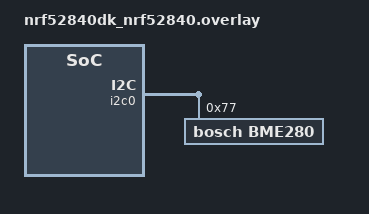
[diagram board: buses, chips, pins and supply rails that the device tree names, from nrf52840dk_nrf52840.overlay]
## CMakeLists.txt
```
# SPDX-License-Identifier: Apache-2.0

cmake_minimum_required(VERSION 3.13.1)
find_package(Zephyr REQUIRED HINTS $ENV{ZEPHYR_BASE})
project(bme280_ble)

FILE(GLOB app_sources src/*.c)
target_sources(app PRIVATE ${app_sources})
```

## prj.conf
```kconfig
CONFIG_SENSOR=y
CONFIG_BME280=y

##########
# for BLE
##########
CONFIG_BT=y
CONFIG_BT_DEBUG_LOG=y
CONFIG_BT_PERIPHERAL=y
CONFIG_BT_DEVICE_NAME="WS"
CONFIG_BT_GATT_CLIENT=y
```

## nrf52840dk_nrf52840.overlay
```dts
/*
 * Copyright (c) 2020, Nordic Semiconductor ASA
 *
 * SPDX-License-Identifier: Apache-2.0
 */

// &i2c0 {
// 	compatible = "nordic,nrf-twim";
// 	status = "okay";
// 	sda-pin = <26>;
// 	scl-pin = <27>;
//     clock-frequency = <I2C_BITRATE_STANDARD>;
// 	bme280@77 {
// 		compatible = "bosch,bme280";
// 		reg = <0x77>;
// 		label = "BME280";
// 	};

// };


/*
 * Copyright (c) 2020, Nordic Semiconductor ASA
 *
 * SPDX-License-Identifier: Apache-2.0
 */

&i2c0 {
	bme280@77 {
		compatible = "bosch,bme280";
		reg = <0x77>;
		label = "BME280";
	};
};
```

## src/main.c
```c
/**
 * @file main.c
 *
 * Description
 *
 */

/*======= Includes ==========================================================*/

#include <zephyr.h>
#include <device.h>
#include <drivers/sensor.h>
#include <devicetree.h>
#include <drivers/gpio.h>

#include <logging/log.h>

#include <bluetooth/bluetooth.h>
#include <bluetooth/hci.h>
#include <bluetooth/conn.h>
#include <bluetooth/uuid.h>
#include <bluetooth/gatt.h>

#include "sensor_data.h"

LOG_MODULE_REGISTER(main);

/*======= Local Macro Definitions ===========================================*/

#define BME280 DT_INST(0, bosch_bme280)

#if DT_NODE_HAS_STATUS(BME280, okay)
#define BME280_LABEL DT_LABEL(BME280)
#else
#error Your devicetree has no enabled nodes with compatible "bosch,bme280"
#define BME280_LABEL "<none>"
#endif

#define LED0_NODE DT_ALIAS(led0)

#if DT_NODE_HAS_STATUS(LED0_NODE, okay)
#define LED0	DT_GPIO_LABEL(LED0_NODE, gpios)
#define PIN	DT_GPIO_PIN(LED0_NODE, gpios)
#if DT_PHA_HAS_CELL(LED0_NODE, gpios, flags)
#define FLAGS	DT_GPIO_FLAGS(LED0_NODE, gpios)
#endif
#else
/* A build error here means your board isn't set up to blink an LED. */
#error "Unsupported board: led0 devicetree alias is not defined"
#define LED0	""
#define PIN	0
#endif

#ifndef FLAGS
#define FLAGS	0
#endif

/*======= Type Definitions ==================================================*/
/*======= Local function prototypes =========================================*/

static ssize_t recvHumidity(struct bt_conn *conn,
					const struct bt_gatt_attr *attr,
					void *buf, u16_t len,
					u16_t offset);

static ssize_t recvTemperature(struct bt_conn *conn,
					const struct bt_gatt_attr *attr,
					void *buf, u16_t len,
					u16_t offset);

static ssize_t recvPressure(struct bt_conn *conn,
					const struct bt_gatt_attr *attr,
					void *buf, u16_t len,
					u16_t offset);

static void humidity_ccc_cfg_changed(const struct bt_gatt_attr *attr, u16_t value);
static void temperature_ccc_cfg_changed(const struct bt_gatt_attr *attr, u16_t value);

static void bt_ready(int err);
static void connected(struct bt_conn *connected, u8_t err);
static void disconnected(struct bt_conn *disconn, u8_t reason);

/*======= Local variable declarations =======================================*/

extern s32_t pressure;
extern s32_t temperature;
extern s32_t humidity;

/* WS Custom Service  */
static struct bt_uuid_128 ws_service_uuid = BT_UUID_INIT_128(
	0x8f, 0xe5, 0xb3, 0xd5, 0x2e, 0x7f, 0x4a, 0x98,
	0x2a, 0x48, 0x7a, 0xcc, 0x40, 0xfe, 0x00, 0x00);

/* WS Humidity charecterstic */
static struct bt_uuid_128 humidty_char_uuid = BT_UUID_INIT_128(
	0x19, 0xed, 0x82, 0xae, 0xed, 0x21, 0x4c, 0x9d,
	0x41, 0x45, 0x22, 0x8e, 0x41, 0xfe, 0x00, 0x00);

/* WS Temperature charecterstic */
static struct bt_uuid_128 temperature_char_uuid = BT_UUID_INIT_128(
	0x19, 0xed, 0x82, 0xae, 0xed, 0x21, 0x4c, 0x9d,
	0x41, 0x45, 0x22, 0x8e, 0x42, 0xfe, 0x00, 0x00);

/* WS Temperature charecterstic */
static struct bt_uuid_128 pressure_char_uuid = BT_UUID_INIT_128(
	0x19, 0xed, 0x82, 0xae, 0xed, 0x21, 0x4c, 0x9d,
	0x41, 0x45, 0x22, 0x8e, 0x43, 0xfe, 0x00, 0x00);

#define DEVICE_NAME CONFIG_BT_DEVICE_NAME
#define DEVICE_NAME_LEN (sizeof(DEVICE_NAME) - 1)
#define ADV_LEN 12

/* Advertising data */
static u8_t manuf_data[ADV_LEN] = {
	0x01 /*SKD version */,
	0x83 /* STM32WB - P2P Server 1 */,
	0x00 /* GROUP A Feature  */,
	0x00 /* GROUP A Feature */,
	0x00 /* GROUP B Feature */,
	0x00 /* GROUP B Feature */,
	0x00, /* BLE MAC start -MSB */
	0x00,
	0x00,
	0x00,
	0x00,
	0x00, /* BLE MAC stop */
};

static const struct bt_data ad[] = {
	BT_DATA_BYTES(BT_DATA_FLAGS, (BT_LE_AD_GENERAL | BT_LE_AD_NO_BREDR)),
	BT_DATA(BT_DATA_NAME_COMPLETE, DEVICE_NAME, DEVICE_NAME_LEN),
	BT_DATA(BT_DATA_MANUFACTURER_DATA, manuf_data, ADV_LEN)
};

/* BLE connection */
struct bt_conn *conn;
/* Notification state */
bool notify_humidity = false;
bool notify_temperature = false;

BT_GATT_SERVICE_DEFINE(weather_station_svc,
BT_GATT_PRIMARY_SERVICE(&ws_service_uuid),
BT_GATT_CHARACTERISTIC(&humidty_char_uuid.uuid,
		       BT_GATT_CHRC_READ | BT_GATT_CHRC_NOTIFY,
		       BT_GATT_PERM_READ, recvHumidity, NULL, (void *)1),
BT_GATT_CCC(humidity_ccc_cfg_changed, BT_GATT_PERM_READ | BT_GATT_PERM_WRITE),
BT_GATT_CHARACTERISTIC(&temperature_char_uuid.uuid,
		       BT_GATT_CHRC_READ | BT_GATT_CHRC_NOTIFY,
			   BT_GATT_PERM_READ, recvTemperature, NULL, (void *)1),
BT_GATT_CCC(temperature_ccc_cfg_changed, BT_GATT_PERM_READ | BT_GATT_PERM_WRITE),
BT_GATT_CHARACTERISTIC(&pressure_char_uuid.uuid,
		       BT_GATT_CHRC_READ,
			   BT_GATT_PERM_READ, recvPressure, NULL, &pressure),
);

static struct bt_conn_cb conn_callbacks = {
	.connected = connected,
	.disconnected = disconnected,
};

/*======= Thread prototypes =================================================*/
/*======= Kernal Services Initialization ====================================*/
/*======= Global function implementations ===================================*/
/*======= Local function implementations ====================================*/

static ssize_t recvHumidity(struct bt_conn *conn,
					const struct bt_gatt_attr *attr,
					void *buf, u16_t len,
					u16_t offset)
{
	return bt_gatt_attr_read(conn, attr, buf, len, offset, &humidity,
				 			 sizeof(humidity));
}

static ssize_t recvTemperature(struct bt_conn *conn,
					const struct bt_gatt_attr *attr,
					void *buf, u16_t len,
					u16_t offset)
{
	return bt_gatt_attr_read(conn, attr, buf, len, offset, &temperature,
				 			 sizeof(temperature));
}

static ssize_t recvPressure(struct bt_conn *conn,
					const struct bt_gatt_attr *attr,
					void *buf, u16_t len,
					u16_t offset)
{
	return bt_gatt_attr_read(conn, attr, buf, len, offset, &pressure,
				 			 sizeof(pressure));
}

static void humidity_ccc_cfg_changed(const struct bt_gatt_attr *attr, u16_t value)
{
	ARG_UNUSED(attr);
	notify_humidity = (value == BT_GATT_CCC_NOTIFY);
	LOG_INF("Notification %s", notify_humidity ? "enabled" : "disabled");
}

static void temperature_ccc_cfg_changed(const struct bt_gatt_attr *attr, u16_t value)
{
	ARG_UNUSED(attr);
	notify_temperature = (value == BT_GATT_CCC_NOTIFY);
	LOG_INF("Notification %s", notify_temperature ? "enabled" : "disabled");
}

static void bt_ready(int err)
{
	if (err) {
		LOG_ERR("Bluetooth init failed (err %d)", err);
		return;
	}
	LOG_INF("Bluetooth initialized");
	/* Start advertising */
	err = bt_le_adv_start(BT_LE_ADV_CONN, ad, ARRAY_SIZE(ad), NULL, 0);
	if (err) {
		LOG_ERR("Advertising failed to start (err %d)", err);
		return;
	}

	LOG_INF("Configuration mode: waiting connections...");
}

static void connected(struct bt_conn *connected, u8_t err)
{
	if (err) {
		LOG_ERR("Connection failed (err %u)", err);
	} else {
		LOG_INF("Connected");
		if (!conn) {
			conn = bt_conn_ref(connected);
		}
	}
}

static void disconnected(struct bt_conn *disconn, u8_t reason)
{
	if (conn) {
		bt_conn_unref(conn);
		conn = NULL;
	}

	LOG_INF("Disconnected (reason %u)", reason);
}

/*======= Thread implementations ============================================*/

void main(void)
{
	struct device *sensorDevice = device_get_binding(BME280_LABEL);
	struct device *ledDevice = device_get_binding(LED0);

	if (sensorDevice == NULL) {
		printk("Could not get BME280 device\n");
		return;
	}

	gpio_pin_configure(ledDevice, PIN, GPIO_OUTPUT_INACTIVE | FLAGS );

	printk("dev %p name %s\n", sensorDevice, sensorDevice->name);


	bt_conn_cb_register(&conn_callbacks);

	/* Initialize the Bluetooth Subsystem */
	int err = bt_enable(bt_ready);
	if (err) {
		LOG_ERR("Bluetooth init failed (err %d)", err);
	}

	update_sensor_data(sensorDevice, conn);
	while (1) {
		if (conn)
		{
			gpio_pin_toggle(ledDevice, PIN);
			update_sensor_data(sensorDevice, conn);
			gpio_pin_toggle(ledDevice, PIN);
		}


		k_sleep(K_MSEC(2500));
	}
}
```

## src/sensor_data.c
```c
/**
 * @file sensor_data.c
 *
 * Description
 *
 */

/*======= Includes ==========================================================*/

#include <zephyr/types.h>
#include <logging/log.h>

#include <bluetooth/gatt.h>

#include <drivers/sensor.h>

LOG_MODULE_REGISTER(sensor_updater);

/*======= Local Macro Definitions ===========================================*/
/*======= Type Definitions ==================================================*/
/*======= Local function prototypes =========================================*/
/*======= Local variable declarations =======================================*/

extern bool notify_humidity;
extern bool notify_temperature;
extern struct bt_conn *conn;
extern struct bt_gatt_service_static weather_station_svc[];

s32_t pressure = 0;
s32_t temperature = 0;
s32_t humidity = 0;

/*======= Thread prototypes =================================================*/
/*======= Kernal Services Initialization ====================================*/
/*======= Global function implementations ===================================*/

void update_sensor_data(struct device *dev, struct bt_conn *conn)
{
    struct sensor_value temperature_sample, pressure_sample, humidity_sample;
    int err;

    err = sensor_sample_fetch(dev);
    if (0 != err)
    {
        LOG_ERR("Failed to sample sensor data");
        return;
    }
    err = sensor_channel_get(dev, SENSOR_CHAN_AMBIENT_TEMP,
                             &temperature_sample);
    if (0 != err)
    {
        LOG_ERR("Failed to get sensor data from temperature channel");
    }
    err = sensor_channel_get(dev, SENSOR_CHAN_PRESS, &pressure_sample);
    if (0 != err)
    {
        LOG_ERR("Failed to get sesnor data from pressure channel");
    }
    err = sensor_channel_get(dev, SENSOR_CHAN_HUMIDITY, &humidity_sample);
    if (0 != err)
    {
        LOG_ERR("Failed to get sensor data from humidity channel");
    }

    pressure = pressure_sample.val1;
    temperature = temperature_sample.val1;
    humidity = humidity_sample.val1;
    LOG_INF("temp: %d.%06d; press: %d.%06d; humidity: %d.%06d",
            temperature_sample.val1, temperature_sample.val2,
            pressure_sample.val1, pressure_sample.val2, humidity_sample.val1,
            humidity_sample.val2);

    if ( !conn )
    {
        return;
    }

    if (notify_humidity)
    {
        err = bt_gatt_notify(NULL, &weather_station_svc->attrs[1], &humidity,
                             sizeof(humidity));
        if (0 != err)
        {
            LOG_ERR("Failed to notify the humidity charecterstic in WS service");
        }
    }

    if (notify_temperature)
    {
        err = bt_gatt_notify(NULL, &weather_station_svc->attrs[4], &temperature,
                             sizeof(temperature));
        if (0 != err)
        {
            LOG_ERR("Failed to notify the temperature charecteristic in WS service");
        }
    }
}

/*======= Local function implementations ====================================*/
/*======= Thread implementations ============================================*/
```

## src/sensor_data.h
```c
#ifndef _sensor_data_H_
#define _sensor_data_H_

#ifdef __cplusplus
extern "C" {
#endif

/**
 * @file sensor_data.h
 *
 * Description
 *
 */

/*======= Includes ==========================================================*/
/*======= Public macro definitions ==========================================*/
/*======= Type Definitions and declarations =================================*/
/*======= Public variable declarations ======================================*/
/*======= Public function declarations ======================================*/

void update_sensor_data( struct device *dev, struct bt_conn *conn);

#ifdef __cplusplus
}
#endif

#endif /* _sensor_data_H_ */
```
